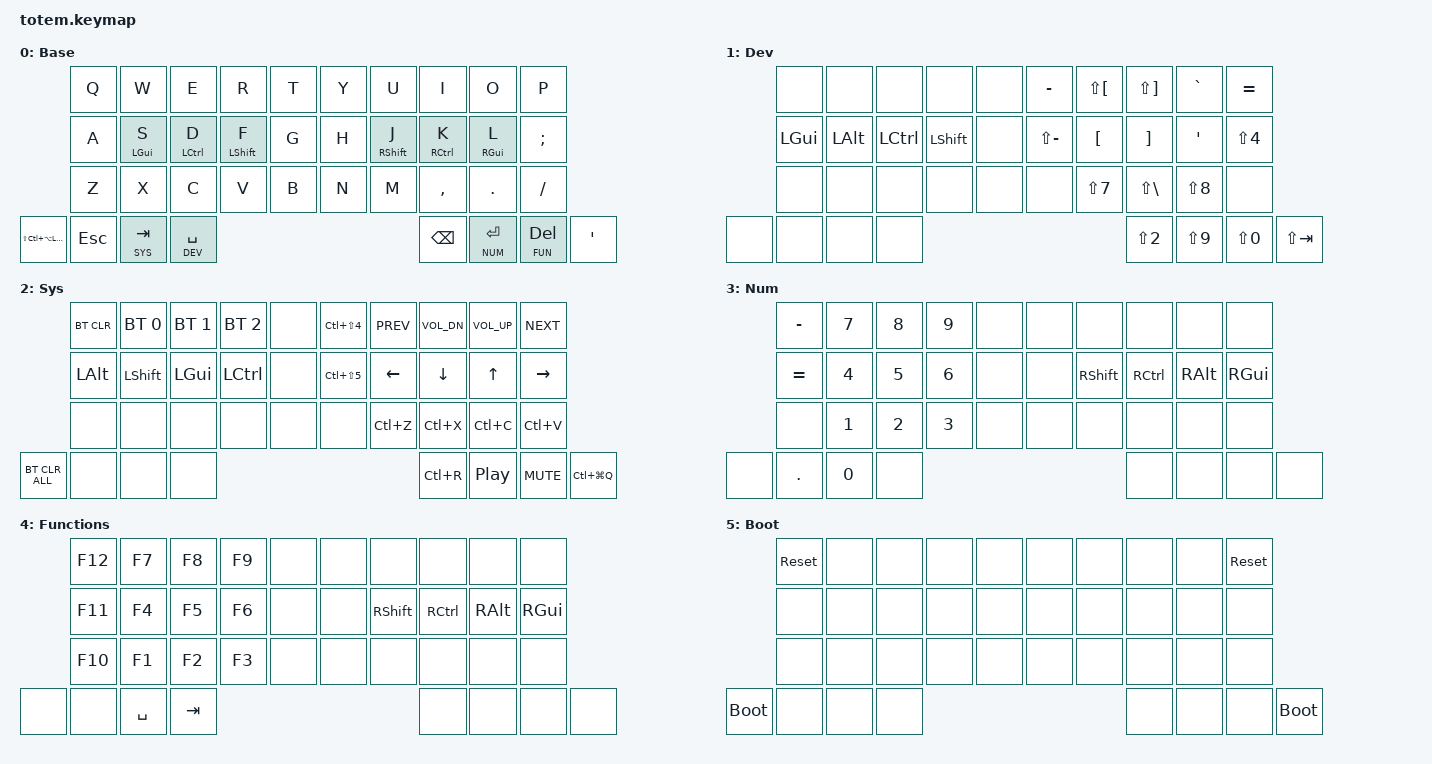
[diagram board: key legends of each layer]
//
//                                                        ▀▀▀▀▀     ▀▀▀▀▀          ▀▀█▀▀
//                                                        ▄▀▀▀▄  ▄  ▄▀▀▀▄  ▄  ▄▀▀▀▄  █  ▄▀▀▀▄
//                                                        █   █  █  █   █  █  █   █  █  █   █
//                                                         ▀▀▀   █   ▀▀▀   █   ▀▀▀   ▀   ▀▀▀
//                                                               █      ▄▄▄█▄▄▄    █   █
//                                                               ▀      █  █  █     █▄█
//                                                             ▀▀▀▀▀    █  █  █      ▀
//                                                                      ▀  ▀  ▀
//
// ▄▄▄▄▄▄▄▄▄▄▄▄▄▄▄▄▄▄▄▄▄▄▄▄▄▄▄▄▄▄▄▄▄▄▄▄▄▄▄▄▄▄▄▄▄▄▄▄▄▄▄▄▄▄▄▄▄▄▄▄▄▄▄▄▄▄▄▄▄▄▄▄▄▄▄▄▄▄▄▄▄▄▄▄▄▄▄▄▄▄▄▄▄▄▄▄▄▄▄▄▄▄▄▄▄▄▄▄▄▄▄▄▄▄▄▄▄▄▄▄▄▄▄▄▄▄▄▄▄▄▄▄▄▄▄▄▄▄▄▄▄▄▄▄▄▄▄▄▄


#include <behaviors.dtsi>
#include <dt-bindings/zmk/keys.h>
#include <dt-bindings/zmk/bt.h>
#include <dt-bindings/zmk/mouse.h>
#include <dt-bindings/zmk/outputs.h>

#define BASE 0
#define DEV  1  // Developer Hotpaths (right-hand)
#define SYS  2  // Navigation and Media (right-hand)
#define NUM  3  // Numbers and Symbols (left-hand)
#define FUN  4  // Function Keys (left-hand)
#define BOOT 5  // Bootloader and Reset (both)

#define HYPER &kp LS(LC(LA(LGUI)))

&mt {
  flavor = "tap-preferred";
  tapping-term-ms = <200>;
  display-name = "Mod-Tap";
};

&lt {
  flavor = "tap-preferred";
  tapping-term-ms = <200>;
  display-name = "Layer-Tap";
};

/ {
  keymap {
    compatible = "zmk,keymap";
      base_layer {
        display-name = "Base";
        //                 ┏━━━━━━━━━━━━━━━┳━━━━━━━━━━━━━━━┳━━━━━━━━━━━━━━━┳━━━━━━━━━━━━━━━┳━━━━━━━━━━━━━━━┓   ┏━━━━━━━━━━━━━━━┳━━━━━━━━━━━━━━━┳━━━━━━━━━━━━━━━┳━━━━━━━━━━━━━━━┳━━━━━━━━━━━━━━━┓
        //                 ┃ Q             ┃ W             ┃ E             ┃ R             ┃ T             ┃   ┃ Y             ┃ U             ┃ I             ┃ O             ┃ P             ┃
        //                 ┣━━━━━━━━━━━━━━━╋━━━━━━━━━━━━━━━╋━━━━━━━━━━━━━━━╋━━━━━━━━━━━━━━━╋━━━━━━━━━━━━━━━┫   ┣━━━━━━━━━━━━━━━╋━━━━━━━━━━━━━━━╋━━━━━━━━━━━━━━━╋━━━━━━━━━━━━━━━╋━━━━━━━━━━━━━━━┫
        //                 ┃ A             ┃ S             ┃ D             ┃ F             ┃ G             ┃   ┃ H             ┃ J             ┃ K             ┃ L             ┃ ;             ┃
        // ┏━━━━━━━━━━━━━━━╋━━━━━━━━━━━━━━━╋━━━━━━━━━━━━━━━╋━━━━━━━━━━━━━━━╋━━━━━━━━━━━━━━━╋━━━━━━━━━━━━━━━┫   ┣━━━━━━━━━━━━━━━╋━━━━━━━━━━━━━━━╋━━━━━━━━━━━━━━━╋━━━━━━━━━━━━━━━╋━━━━━━━━━━━━━━━╋━━━━━━━━━━━━━━━┓
        // ┃ HYPER         ┃ Z             ┃ X             ┃ C             ┃ V             ┃ B             ┃   ┃ N             ┃ M             ┃ ,             ┃ .             ┃ /             ┃ '             ┃
        // ┗━━━━━━━━━━━━━━━┻━━━━━━━━━━━━━━━┻━━━━━━━━━━━━━━━╋━━━━━━━━━━━━━━━╋━━━━━━━━━━━━━━━╋━━━━━━━━━━━━━━━┫   ┣━━━━━━━━━━━━━━━╋━━━━━━━━━━━━━━━╋━━━━━━━━━━━━━━━╋━━━━━━━━━━━━━━━┻━━━━━━━━━━━━━━━┻━━━━━━━━━━━━━━━┛
        //                                                 ┃ ESC           ┃ SYS+TAB       ┃ DEV+SPACE     ┃   ┃ BSPC          ┃ NUM+RET       ┃ FUN+DEL       ┃
        //                                                 ┗━━━━━━━━━━━━━━━┻━━━━━━━━━━━━━━━┻━━━━━━━━━━━━━━━┛   ┗━━━━━━━━━━━━━━━┻━━━━━━━━━━━━━━━┻━━━━━━━━━━━━━━━┛
        bindings = <
        // ╷               ╷               ╷               ╷               ╷               ╷               ╷   ╷               ╷               ╷               ╷               ╷               ╷               ╷
                             &kp Q          &kp W           &kp E           &kp R           &kp T               &kp Y           &kp U           &kp I           &kp O           &kp P
                             &kp A          &mt LGUI S      &mt LCTRL D     &mt LSHFT F     &kp G               &kp H           &mt RSHFT J     &mt RCTRL K     &mt RGUI L      &kp SEMI
                             &kp Z          &kp X           &kp C           &kp V           &kp B               &kp N           &kp M           &kp COMMA       &kp DOT         &kp FSLH
            HYPER                                           &kp ESC         &lt SYS TAB     &lt DEV SPACE       &kp BSPC        &lt NUM RET     &lt FUN DEL                                     &kp SQT
        >;
      };

      dev_layer {
        display-name = "Dev";
        //                 ┏━━━━━━━━━━━━━━━┳━━━━━━━━━━━━━━━┳━━━━━━━━━━━━━━━┳━━━━━━━━━━━━━━━┳━━━━━━━━━━━━━━━┓   ┏━━━━━━━━━━━━━━━┳━━━━━━━━━━━━━━━┳━━━━━━━━━━━━━━━┳━━━━━━━━━━━━━━━┳━━━━━━━━━━━━━━━┓
        //                 ┃               ┃               ┃               ┃               ┃               ┃   ┃ -             ┃ {             ┃ }             ┃ `             ┃ =             ┃
        //                 ┣━━━━━━━━━━━━━━━╋━━━━━━━━━━━━━━━╋━━━━━━━━━━━━━━━╋━━━━━━━━━━━━━━━╋━━━━━━━━━━━━━━━┫   ┣━━━━━━━━━━━━━━━╋━━━━━━━━━━━━━━━╋━━━━━━━━━━━━━━━╋━━━━━━━━━━━━━━━╋━━━━━━━━━━━━━━━┫
        //                 ┃ GUI           ┃ ALT           ┃ CTRL          ┃ SHIFT         ┃               ┃   ┃ _             ┃ [             ┃ ]             ┃ '             ┃ $             ┃
        // ┏━━━━━━━━━━━━━━━╋━━━━━━━━━━━━━━━╋━━━━━━━━━━━━━━━╋━━━━━━━━━━━━━━━╋━━━━━━━━━━━━━━━╋━━━━━━━━━━━━━━━┫   ┣━━━━━━━━━━━━━━━╋━━━━━━━━━━━━━━━╋━━━━━━━━━━━━━━━╋━━━━━━━━━━━━━━━╋━━━━━━━━━━━━━━━╋━━━━━━━━━━━━━━━┓
        // ┃               ┃               ┃               ┃               ┃               ┃               ┃   ┃               ┃ &             ┃ |             ┃ *             ┃               ┃ SHIFT TAB     ┃
        // ┗━━━━━━━━━━━━━━━┻━━━━━━━━━━━━━━━┻━━━━━━━━━━━━━━━╋━━━━━━━━━━━━━━━╋━━━━━━━━━━━━━━━╋━━━━━━━━━━━━━━━┫   ┣━━━━━━━━━━━━━━━╋━━━━━━━━━━━━━━━╋━━━━━━━━━━━━━━━╋━━━━━━━━━━━━━━━┻━━━━━━━━━━━━━━━┻━━━━━━━━━━━━━━━┛
        //                                                 ┃               ┃               ┃               ┃   ┃ @             ┃ (             ┃ )             ┃
        //                                                 ┗━━━━━━━━━━━━━━━┻━━━━━━━━━━━━━━━┻━━━━━━━━━━━━━━━┛   ┗━━━━━━━━━━━━━━━┻━━━━━━━━━━━━━━━┻━━━━━━━━━━━━━━━┛
        bindings = <
        // ╷               ╷               ╷               ╷               ╷               ╷               ╷   ╷               ╷               ╷               ╷               ╷               ╷               ╷
                            &none           &none           &none           &none           &none               &kp MINUS       &kp LS(LBKT)    &kp LS(RBKT)    &kp GRAVE       &kp EQUAL
                            &kp LGUI        &kp LALT        &kp LCTRL       &kp LSHFT       &none               &kp LS(MINUS)   &kp LBKT        &kp RBKT        &kp SQT         &kp LS(N4)
                            &none           &none           &none           &none           &none               &none           &kp LS(N7)      &kp LS(BSLH)    &kp LS(N8)      &none
            &none                                           &none           &none           &none               &kp LS(N2)      &kp LS(N9)      &kp LS(N0)                                      &kp LS(TAB)
        >;
      };

      sys_layer {
        display-name = "Sys";
        //                 ┏━━━━━━━━━━━━━━━┳━━━━━━━━━━━━━━━┳━━━━━━━━━━━━━━━┳━━━━━━━━━━━━━━━┳━━━━━━━━━━━━━━━┓   ┏━━━━━━━━━━━━━━━┳━━━━━━━━━━━━━━━┳━━━━━━━━━━━━━━━┳━━━━━━━━━━━━━━━┳━━━━━━━━━━━━━━━┓
        //                 ┃ BT_CLR        ┃ BT_SEL 0      ┃ BT_SEL 1      ┃ BT_SEL 2      ┃               ┃   ┃ SCREENSHOT    ┃ PREV          ┃ VOL-          ┃ VOL+          ┃ NEXT          ┃
        //                 ┣━━━━━━━━━━━━━━━╋━━━━━━━━━━━━━━━╋━━━━━━━━━━━━━━━╋━━━━━━━━━━━━━━━╋━━━━━━━━━━━━━━━┫   ┣━━━━━━━━━━━━━━━╋━━━━━━━━━━━━━━━╋━━━━━━━━━━━━━━━╋━━━━━━━━━━━━━━━╋━━━━━━━━━━━━━━━┫
        //                 ┃ ALT           ┃ SHIFT         ┃ GUI           ┃ CTRL          ┃               ┃   ┃ SCREENSHOT+   ┃ ←             ┃ ↓             ┃ ↑             ┃ →             ┃
        // ┏━━━━━━━━━━━━━━━╋━━━━━━━━━━━━━━━╋━━━━━━━━━━━━━━━╋━━━━━━━━━━━━━━━╋━━━━━━━━━━━━━━━╋━━━━━━━━━━━━━━━┫   ┣━━━━━━━━━━━━━━━╋━━━━━━━━━━━━━━━╋━━━━━━━━━━━━━━━╋━━━━━━━━━━━━━━━╋━━━━━━━━━━━━━━━╋━━━━━━━━━━━━━━━┓
        // ┃ BT_CLR_ALL    ┃               ┃               ┃               ┃               ┃               ┃   ┃ UNDO          ┃ COPY          ┃ PASTE         ┃ CUT           ┃               ┃ LOCK SCREEN   ┃
        // ┗━━━━━━━━━━━━━━━┻━━━━━━━━━━━━━━━┻━━━━━━━━━━━━━━━╋━━━━━━━━━━━━━━━╋━━━━━━━━━━━━━━━╋━━━━━━━━━━━━━━━┫   ┣━━━━━━━━━━━━━━━╋━━━━━━━━━━━━━━━╋━━━━━━━━━━━━━━━╋━━━━━━━━━━━━━━━┻━━━━━━━━━━━━━━━┻━━━━━━━━━━━━━━━┛
        //                                                 ┃               ┃               ┃               ┃   ┃ REFRESH       ┃ PLAY          ┃ MUTE          ┃
        //                                                 ┗━━━━━━━━━━━━━━━┻━━━━━━━━━━━━━━━┻━━━━━━━━━━━━━━━┛   ┗━━━━━━━━━━━━━━━┻━━━━━━━━━━━━━━━┻━━━━━━━━━━━━━━━┛
        bindings = <
        // ╷               ╷               ╷               ╷               ╷               ╷               ╷   ╷               ╷               ╷               ╷               ╷               ╷               ╷
                            &bt BT_CLR      &bt BT_SEL 0    &bt BT_SEL 1    &bt BT_SEL 2    &none               &kp LC(LS(N4))  &kp C_PREV      &kp C_VOL_DN    &kp C_VOL_UP    &kp C_NEXT
                            &kp LALT        &kp LSHFT       &kp LGUI        &kp LCTRL       &none               &kp LC(LS(N5))  &kp LEFT        &kp DOWN        &kp UP          &kp RIGHT
                            &none           &none           &none           &none           &none               &none           &kp LC(Z)       &kp LC(X)       &kp LC(C)       &kp LC(V)
            &bt BT_CLR_ALL                                  &none           &none           &none               &kp LC(R)       &kp C_PP        &kp C_MUTE                                      &kp LC(LG(Q))
        >;
      };

      num_layer {
        display-name = "Num";
        //                 ┏━━━━━━━━━━━━━━━┳━━━━━━━━━━━━━━━┳━━━━━━━━━━━━━━━┳━━━━━━━━━━━━━━━┳━━━━━━━━━━━━━━━┓   ┏━━━━━━━━━━━━━━━┳━━━━━━━━━━━━━━━┳━━━━━━━━━━━━━━━┳━━━━━━━━━━━━━━━┳━━━━━━━━━━━━━━━┓
        //                 ┃ -             ┃ 7             ┃ 8             ┃ 9             ┃               ┃   ┃               ┃               ┃               ┃               ┃               ┃
        //                 ┣━━━━━━━━━━━━━━━╋━━━━━━━━━━━━━━━╋━━━━━━━━━━━━━━━╋━━━━━━━━━━━━━━━╋━━━━━━━━━━━━━━━┫   ┣━━━━━━━━━━━━━━━╋━━━━━━━━━━━━━━━╋━━━━━━━━━━━━━━━╋━━━━━━━━━━━━━━━╋━━━━━━━━━━━━━━━┫
        //                 ┃ =             ┃ 4             ┃ 5             ┃ 6             ┃               ┃   ┃               ┃ SHIFT         ┃ CTRL          ┃ ALT           ┃ GUI           ┃
        // ┏━━━━━━━━━━━━━━━╋━━━━━━━━━━━━━━━╋━━━━━━━━━━━━━━━╋━━━━━━━━━━━━━━━╋━━━━━━━━━━━━━━━╋━━━━━━━━━━━━━━━┫   ┣━━━━━━━━━━━━━━━╋━━━━━━━━━━━━━━━╋━━━━━━━━━━━━━━━╋━━━━━━━━━━━━━━━╋━━━━━━━━━━━━━━━╋━━━━━━━━━━━━━━━┓
        // ┃               ┃               ┃ 1             ┃ 2             ┃ 3             ┃               ┃   ┃               ┃               ┃               ┃               ┃               ┃               ┃
        // ┗━━━━━━━━━━━━━━━┻━━━━━━━━━━━━━━━┻━━━━━━━━━━━━━━━╋━━━━━━━━━━━━━━━╋━━━━━━━━━━━━━━━╋━━━━━━━━━━━━━━━┫   ┣━━━━━━━━━━━━━━━╋━━━━━━━━━━━━━━━╋━━━━━━━━━━━━━━━╋━━━━━━━━━━━━━━━┻━━━━━━━━━━━━━━━┻━━━━━━━━━━━━━━━┛
        //                                                 ┃ .             ┃ 0             ┃               ┃   ┃               ┃               ┃               ┃
        //                                                 ┗━━━━━━━━━━━━━━━┻━━━━━━━━━━━━━━━┻━━━━━━━━━━━━━━━┛   ┗━━━━━━━━━━━━━━━┻━━━━━━━━━━━━━━━┻━━━━━━━━━━━━━━━┛
        bindings = <
        // ╷               ╷               ╷               ╷               ╷               ╷               ╷   ╷               ╷               ╷               ╷               ╷               ╷               ╷
                            &kp MINUS       &kp N7          &kp N8          &kp N9          &none               &none           &none           &none           &none           &none
                            &kp EQUAL       &kp N4          &kp N5          &kp N6          &none               &none           &kp RSHFT       &kp RCTRL       &kp RALT        &kp RGUI
                            &none           &kp N1          &kp N2          &kp N3          &none               &none           &none           &none           &none           &none
            &none                                           &kp DOT         &kp N0          &none               &none           &none           &none                                           &none
        >;
      };

      fun_layer {
        display-name = "Functions";
        //                 ┏━━━━━━━━━━━━━━━┳━━━━━━━━━━━━━━━┳━━━━━━━━━━━━━━━┳━━━━━━━━━━━━━━━┳━━━━━━━━━━━━━━━┓   ┏━━━━━━━━━━━━━━━┳━━━━━━━━━━━━━━━┳━━━━━━━━━━━━━━━┳━━━━━━━━━━━━━━━┳━━━━━━━━━━━━━━━┓
        //                 ┃ F12           ┃ F7            ┃ F8            ┃ F9            ┃               ┃   ┃               ┃               ┃               ┃               ┃               ┃
        //                 ┣━━━━━━━━━━━━━━━╋━━━━━━━━━━━━━━━╋━━━━━━━━━━━━━━━╋━━━━━━━━━━━━━━━╋━━━━━━━━━━━━━━━┫   ┣━━━━━━━━━━━━━━━╋━━━━━━━━━━━━━━━╋━━━━━━━━━━━━━━━╋━━━━━━━━━━━━━━━╋━━━━━━━━━━━━━━━┫
        //                 ┃ F11           ┃ F4            ┃ F5            ┃ F6            ┃               ┃   ┃               ┃ SHIFT         ┃ CTRL          ┃ ALT           ┃ GUI           ┃
        // ┏━━━━━━━━━━━━━━━╋━━━━━━━━━━━━━━━╋━━━━━━━━━━━━━━━╋━━━━━━━━━━━━━━━╋━━━━━━━━━━━━━━━╋━━━━━━━━━━━━━━━┫   ┣━━━━━━━━━━━━━━━╋━━━━━━━━━━━━━━━╋━━━━━━━━━━━━━━━╋━━━━━━━━━━━━━━━╋━━━━━━━━━━━━━━━╋━━━━━━━━━━━━━━━┓
        // ┃               ┃ F10           ┃ F1            ┃ F2            ┃ F3            ┃               ┃   ┃               ┃               ┃               ┃               ┃               ┃               ┃
        // ┗━━━━━━━━━━━━━━━┻━━━━━━━━━━━━━━━┻━━━━━━━━━━━━━━━╋━━━━━━━━━━━━━━━╋━━━━━━━━━━━━━━━╋━━━━━━━━━━━━━━━┫   ┣━━━━━━━━━━━━━━━╋━━━━━━━━━━━━━━━╋━━━━━━━━━━━━━━━╋━━━━━━━━━━━━━━━┻━━━━━━━━━━━━━━━┻━━━━━━━━━━━━━━━┛
        //                                                 ┃               ┃ SPACE         ┃ TAB           ┃   ┃               ┃               ┃               ┃
        //                                                 ┗━━━━━━━━━━━━━━━┻━━━━━━━━━━━━━━━┻━━━━━━━━━━━━━━━┛   ┗━━━━━━━━━━━━━━━┻━━━━━━━━━━━━━━━┻━━━━━━━━━━━━━━━┛
        bindings = <
        // ╷               ╷               ╷               ╷               ╷               ╷               ╷   ╷               ╷               ╷               ╷               ╷               ╷               ╷
                            &kp F12         &kp F7          &kp F8          &kp F9          &none               &none           &none           &none           &none           &none
                            &kp F11         &kp F4          &kp F5          &kp F6          &none               &none           &kp RSHFT       &kp RCTRL       &kp RALT        &kp RGUI
                            &kp F10         &kp F1          &kp F2          &kp F3          &none               &none           &none           &none           &none           &none
            &none                                           &none           &kp SPACE       &kp TAB             &none           &none           &none                                           &none
        >;
      };

      boot_layer {
        display-name = "Boot";
        //                 ┏━━━━━━━━━━━━━━━┳━━━━━━━━━━━━━━━┳━━━━━━━━━━━━━━━┳━━━━━━━━━━━━━━━┳━━━━━━━━━━━━━━━┓   ┏━━━━━━━━━━━━━━━┳━━━━━━━━━━━━━━━┳━━━━━━━━━━━━━━━┳━━━━━━━━━━━━━━━┳━━━━━━━━━━━━━━━┓
        //                 ┃ SYS RESET     ┃               ┃               ┃               ┃               ┃   ┃               ┃               ┃               ┃               ┃ SYS RESET     ┃
        //                 ┣━━━━━━━━━━━━━━━╋━━━━━━━━━━━━━━━╋━━━━━━━━━━━━━━━╋━━━━━━━━━━━━━━━╋━━━━━━━━━━━━━━━┫   ┣━━━━━━━━━━━━━━━╋━━━━━━━━━━━━━━━╋━━━━━━━━━━━━━━━╋━━━━━━━━━━━━━━━╋━━━━━━━━━━━━━━━┫
        //                 ┃               ┃               ┃               ┃               ┃               ┃   ┃               ┃               ┃               ┃               ┃               ┃
        // ┏━━━━━━━━━━━━━━━╋━━━━━━━━━━━━━━━╋━━━━━━━━━━━━━━━╋━━━━━━━━━━━━━━━╋━━━━━━━━━━━━━━━╋━━━━━━━━━━━━━━━┫   ┣━━━━━━━━━━━━━━━╋━━━━━━━━━━━━━━━╋━━━━━━━━━━━━━━━╋━━━━━━━━━━━━━━━╋━━━━━━━━━━━━━━━╋━━━━━━━━━━━━━━━┓
        // ┃ BOOTLOAD      ┃               ┃               ┃               ┃               ┃               ┃   ┃               ┃               ┃               ┃               ┃               ┃ BOOTLOAD      ┃
        // ┗━━━━━━━━━━━━━━━┻━━━━━━━━━━━━━━━┻━━━━━━━━━━━━━━━╋━━━━━━━━━━━━━━━╋━━━━━━━━━━━━━━━╋━━━━━━━━━━━━━━━┫   ┣━━━━━━━━━━━━━━━╋━━━━━━━━━━━━━━━╋━━━━━━━━━━━━━━━╋━━━━━━━━━━━━━━━┻━━━━━━━━━━━━━━━┻━━━━━━━━━━━━━━━┛
        //                                                 ┃               ┃               ┃               ┃   ┃               ┃               ┃               ┃
        //                                                 ┗━━━━━━━━━━━━━━━┻━━━━━━━━━━━━━━━┻━━━━━━━━━━━━━━━┛   ┗━━━━━━━━━━━━━━━┻━━━━━━━━━━━━━━━┻━━━━━━━━━━━━━━━┛
        bindings = <
        // ╷               ╷               ╷               ╷               ╷               ╷               ╷   ╷               ╷               ╷               ╷               ╷               ╷               ╷
                            &sys_reset      &none           &none           &none           &none               &none           &none           &none           &none           &sys_reset
                            &none           &none           &none           &none           &none               &none           &none           &none           &none           &none
                            &none           &none           &none           &none           &none               &none           &none           &none           &none           &none
            &bootloader                                     &none           &none           &none               &none           &none           &none                                           &bootloader
        >;
      };
    };
};
